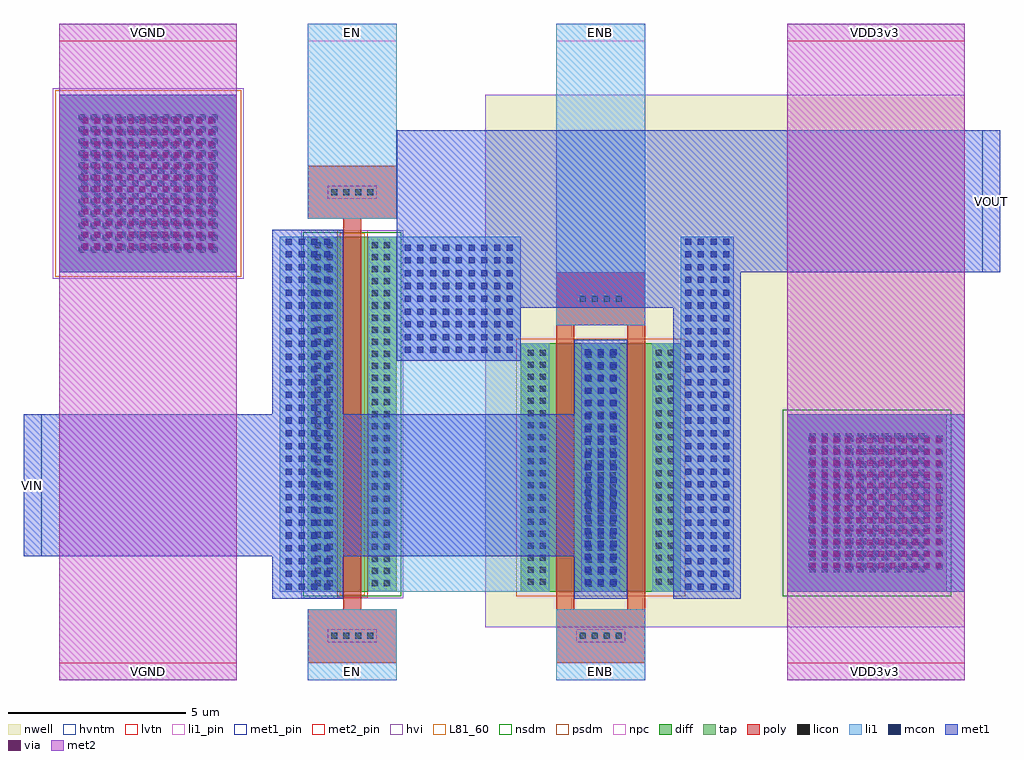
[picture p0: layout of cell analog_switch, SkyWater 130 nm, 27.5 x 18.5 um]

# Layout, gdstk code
import gdstk
lib = gdstk.Library(unit=1e-6, precision=1e-09)
def R(c, l, rs):  # rectangles x0, y0, x1, y1
    for r in rs: c.add(gdstk.rectangle(r[:2], r[2:], *l))
def A(c, l, x, y, w, h, nx, ny, dx, dy):  # array of equal rectangles
    R(c, l, [(x+i*dx, y+j*dy, x+i*dx+w, y+j*dy+h) for i in range(nx) for j in range(ny)])
nwell = (64, 20)
diff = (65, 20)
tap = (65, 44)
poly = (66, 20)
licon = (66, 44)
li1_pin = (67, 16)
li1 = (67, 20)
mcon = (67, 44)
met1_pin = (68, 16)
met1 = (68, 20)
via = (68, 44)
met2_pin = (69, 16)
met2 = (69, 20)
hvi = (75, 20)
L81_60 = (81, 60)
nsdm = (93, 44)
psdm = (94, 20)
npc = (95, 20)
hvntm = (125, 20)
lvtn = (125, 44)

analog_switch = lib.new_cell('analog_switch')
R(analog_switch, nwell, [(8,-6,21.5,9)])
R(analog_switch, diff, [(3,-5,5.5,5), (9,-5,13.5,2)])
R(analog_switch, tap, [(16.5,-5,21,0), (-4,4,1,9)])
R(analog_switch, poly, [(3,-7,5.5,-5.5), (10,-7,12.5,-5.5), (4,-5.5,4.5,5.5), (10,-5.5,10.5,2.5), (12,-5.5,12.5,2.5), (10,2.5,12.5,4), (3,5.5,5.5,7)])
A(analog_switch, licon, 3.655, -6.335, 0.17, 0.17, 4, 2, 0.34, 12.5)
A(analog_switch, licon, 10.655, -6.335, 0.17, 0.17, 4, 2, 0.34, 9.5)
A(analog_switch, licon, 10.825, -4.865, 0.17, 0.17, 3, 20, 0.34, 0.34)
A(analog_switch, licon, 3.195, -4.845, 0.17, 0.17, 1, 29, 0, 0.34)
A(analog_switch, licon, 3.535, -4.845, 0.17, 0.17, 1, 29, 0, 0.34)
A(analog_switch, licon, 4.795, -4.845, 0.17, 0.17, 1, 29, 0, 0.34)
A(analog_switch, licon, 5.135, -4.845, 0.17, 0.17, 1, 29, 0, 0.34)
A(analog_switch, licon, 9.195, -4.815, 0.17, 0.17, 1, 20, 0, 0.34)
A(analog_switch, licon, 9.535, -4.815, 0.17, 0.17, 1, 20, 0, 0.34)
A(analog_switch, licon, 12.795, -4.815, 0.17, 0.17, 1, 20, 0, 0.34)
A(analog_switch, licon, 13.135, -4.815, 0.17, 0.17, 1, 20, 0, 0.34)
A(analog_switch, licon, 17.135, -4.455, 0.17, 0.17, 10, 12, 0.34, 0.34)
A(analog_switch, licon, -3.455, 4.545, 0.17, 0.17, 12, 12, 0.34, 0.34)
R(analog_switch, li1_pin, [(3,-7.5,5.5,-7), (10,-7.5,12.5,-7), (3,10.5,5.5,11), (10,10.5,12.5,11)])
R(analog_switch, li1, [(3,-7.5,5.5,-5.5), (10,-7.5,12.5,-5.5), (2.2,-5,3.8,5), (4.7,-5,9.8,2), (10.7,-5,11.8,2), (12.7,-5,15,2), (16.5,-5,21.5,0), (4.7,2,9,5), (13.5,2,15,5), (10,2.5,12.5,11), (-4,4,1,9), (3,5.5,5.5,11)])
A(analog_switch, mcon, 2.375, -4.945, 0.17, 0.17, 4, 28, 0.36, 0.36)
A(analog_switch, mcon, 13.625, -4.945, 0.17, 0.17, 4, 28, 0.36, 0.36)
A(analog_switch, mcon, 10.805, -4.825, 0.17, 0.17, 3, 19, 0.36, 0.36)
A(analog_switch, mcon, 17.115, -4.385, 0.17, 0.17, 11, 11, 0.36, 0.36)
A(analog_switch, mcon, 5.725, 1.725, 0.17, 0.17, 9, 9, 0.36, 0.36)
A(analog_switch, mcon, -3.385, 4.615, 0.17, 0.17, 11, 11, 0.36, 0.36)
R(analog_switch, met1_pin, [(-5,-4,-4.5,0), (22,4,22.5,8)])
R(analog_switch, met1, [(2,-5.2,4,-4), (10.5,-5.2,12,-4), (13.3,-5.2,15.2,3), (16.5,-5,21.5,0), (-5,-4,12,0), (2,0,4,5.2), (10.5,0,12,2.1), (5.5,1.5,9,3), (5.5,3,15.2,4), (-4,4,1,9), (5.5,4,22.5,8)])
A(analog_switch, via, 17.165, -4.335, 0.15, 0.15, 12, 12, 0.32, 0.32)
A(analog_switch, via, -3.335, 4.665, 0.15, 0.15, 12, 12, 0.32, 0.32)
R(analog_switch, met2_pin, [(-4,-7.5,1,-7), (16.5,-7.5,21.5,-7), (-4,10.5,1,11), (16.5,10.5,21.5,11)])
R(analog_switch, met2, [(-4,-7.5,1,11), (16.5,-7.5,21.5,11)])
R(analog_switch, hvi, [(8,-6,21.5,9), (2.815,-5.185,5.685,5.185), (-4.185,3.815,1.185,9.185)])
R(analog_switch, L81_60, [(3.9,-5.1,4.6,5.1)])
R(analog_switch, nsdm, [(2.875,-5.125,5.625,5.125), (16.375,-5.125,21.125,0.125)])
R(analog_switch, psdm, [(8.875,-5.125,13.625,2.125), (-4.125,3.875,1.125,9.125)])
R(analog_switch, npc, [(3.555,-6.435,4.945,-6.065), (10.555,-6.435,11.945,-6.065), (10.555,3.065,11.945,3.435), (3.555,6.065,4.945,6.435)])
R(analog_switch, hvntm, [(2.815,-5.185,5.685,5.185)])
R(analog_switch, lvtn, [(3.82,-5.18,4.68,5.18)])
analog_switch.add(gdstk.Label('VOUT', (22.25,6), layer=68, texttype=16))
analog_switch.add(gdstk.Label('VIN', (-4.75,-2), layer=68, texttype=16))
analog_switch.add(gdstk.Label('EN', (4.25,10.75), layer=67, texttype=16))
analog_switch.add(gdstk.Label('EN', (4.25,-7.25), layer=67, texttype=16))
analog_switch.add(gdstk.Label('ENB', (11.25,10.75), layer=67, texttype=16))
analog_switch.add(gdstk.Label('ENB', (11.25,-7.25), layer=67, texttype=16))
analog_switch.add(gdstk.Label('VDD3v3', (19,10.75), layer=69, texttype=16))
analog_switch.add(gdstk.Label('VDD3v3', (19,-7.25), layer=69, texttype=16))
analog_switch.add(gdstk.Label('VGND', (-1.5,10.75), layer=69, texttype=16))
analog_switch.add(gdstk.Label('VGND', (-1.5,-7.25), layer=69, texttype=16))

lib.write_gds('analog_switch.gds')
